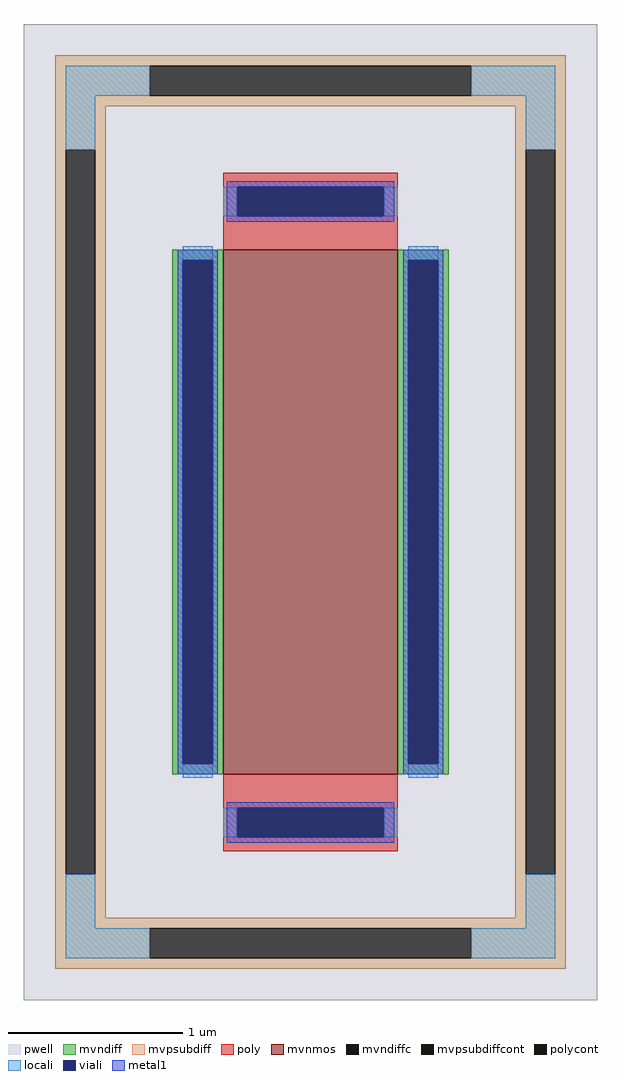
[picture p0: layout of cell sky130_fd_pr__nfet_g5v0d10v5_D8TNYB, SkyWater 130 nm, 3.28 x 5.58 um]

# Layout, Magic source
magic
tech sky130A
<< pwell >>
rect -164 -279 164 279
<< mvnmos >>
rect -50 -150 50 150
<< mvndiff >>
rect -79 144 -50 150
rect -79 -144 -73 144
rect -56 -144 -50 144
rect -79 -150 -50 -144
rect 50 144 79 150
rect 50 -144 56 144
rect 73 -144 79 144
rect 50 -150 79 -144
<< mvndiffc >>
rect -73 -144 -56 144
rect 56 -144 73 144
<< mvpsubdiff >>
rect -146 255 146 261
rect -146 238 -92 255
rect 92 238 146 255
rect -146 232 146 238
rect -146 207 -117 232
rect -146 -207 -140 207
rect -123 -207 -117 207
rect 117 207 146 232
rect -146 -232 -117 -207
rect 117 -207 123 207
rect 140 -207 146 207
rect 117 -232 146 -207
rect -146 -238 146 -232
rect -146 -255 -92 -238
rect 92 -255 146 -238
rect -146 -261 146 -255
<< mvpsubdiffcont >>
rect -92 238 92 255
rect -140 -207 -123 207
rect 123 -207 140 207
rect -92 -255 92 -238
<< poly >>
rect -50 186 50 194
rect -50 169 -42 186
rect 42 169 50 186
rect -50 150 50 169
rect -50 -169 50 -150
rect -50 -186 -42 -169
rect 42 -186 50 -169
rect -50 -194 50 -186
<< polycont >>
rect -42 169 42 186
rect -42 -186 42 -169
<< locali >>
rect -140 238 -92 255
rect 92 238 140 255
rect -140 207 -123 238
rect 123 207 140 238
rect -50 169 -42 186
rect 42 169 50 186
rect -73 144 -56 152
rect -73 -152 -56 -144
rect 56 144 73 152
rect 56 -152 73 -144
rect -50 -186 -42 -169
rect 42 -186 50 -169
rect -140 -238 -123 -207
rect 123 -238 140 -207
rect -140 -255 -92 -238
rect 92 -255 140 -238
<< viali >>
rect -42 169 42 186
rect -73 -144 -56 144
rect 56 -144 73 144
rect -42 -186 42 -169
<< metal1 >>
rect -48 186 48 189
rect -48 169 -42 186
rect 42 169 48 186
rect -48 166 48 169
rect -76 144 -53 150
rect -76 -144 -73 144
rect -56 -144 -53 144
rect -76 -150 -53 -144
rect 53 144 76 150
rect 53 -144 56 144
rect 73 -144 76 144
rect 53 -150 76 -144
rect -48 -169 48 -166
rect -48 -186 -42 -169
rect 42 -186 48 -169
rect -48 -189 48 -186
<< properties >>
string FIXED_BBOX -131 -246 131 246
string gencell sky130_fd_pr__nfet_g5v0d10v5
string library sky130
string parameters w 3.0 l 1.0 m 1 nf 1 diffcov 100 polycov 100 guard 1 glc 1 grc 1 gtc 1 gbc 1 tbcov 100 rlcov 100 topc 1 botc 1 poverlap 0 doverlap 1 lmin 0.50 wmin 0.42 compatible {sky130_fd_pr__nfet_01v8 sky130_fd_pr__nfet_01v8_lvt  sky130_fd_bs_flash__special_sonosfet_star  sky130_fd_pr__nfet_g5v0d10v5 sky130_fd_pr__nfet_05v0_nvt  sky130_fd_pr__nfet_03v3_nvt} full_metal 1 viasrc 100 viadrn 100 viagate 100 viagb 0 viagr 0 viagl 0 viagt 0
<< end >>
